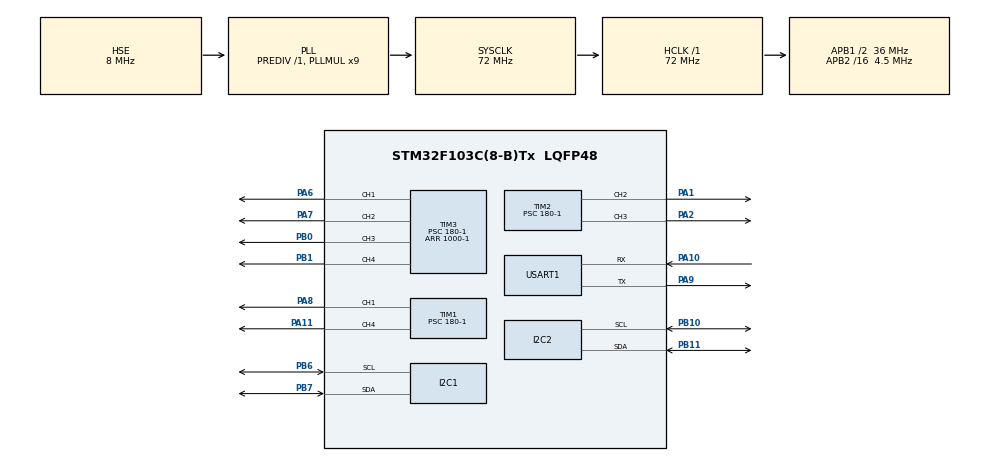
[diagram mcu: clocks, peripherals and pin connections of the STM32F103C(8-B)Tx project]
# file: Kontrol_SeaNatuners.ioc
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Dma.I2C1_RX.3.Direction=DMA_PERIPH_TO_MEMORY
Dma.I2C1_RX.3.Instance=DMA1_Channel7
Dma.I2C1_RX.3.MemDataAlignment=DMA_MDATAALIGN_BYTE
Dma.I2C1_RX.3.MemInc=DMA_MINC_ENABLE
Dma.I2C1_RX.3.Mode=DMA_NORMAL
Dma.I2C1_RX.3.PeriphDataAlignment=DMA_PDATAALIGN_BYTE
Dma.I2C1_RX.3.PeriphInc=DMA_PINC_DISABLE
Dma.I2C1_RX.3.Priority=DMA_PRIORITY_LOW
Dma.I2C1_TX.2.Direction=DMA_MEMORY_TO_PERIPH
Dma.I2C1_TX.2.Instance=DMA1_Channel6
Dma.I2C1_TX.2.MemDataAlignment=DMA_MDATAALIGN_BYTE
Dma.I2C1_TX.2.MemInc=DMA_MINC_ENABLE
Dma.I2C1_TX.2.Mode=DMA_NORMAL
Dma.I2C1_TX.2.PeriphDataAlignment=DMA_PDATAALIGN_BYTE
Dma.I2C1_TX.2.PeriphInc=DMA_PINC_DISABLE
Dma.I2C1_TX.2.Priority=DMA_PRIORITY_LOW
Dma.I2C2_RX.0.Direction=DMA_PERIPH_TO_MEMORY
Dma.I2C2_RX.0.Instance=DMA1_Channel5
Dma.I2C2_RX.0.MemDataAlignment=DMA_MDATAALIGN_BYTE
Dma.I2C2_RX.0.MemInc=DMA_MINC_ENABLE
Dma.I2C2_RX.0.Mode=DMA_NORMAL
Dma.I2C2_RX.0.PeriphDataAlignment=DMA_PDATAALIGN_BYTE
Dma.I2C2_RX.0.PeriphInc=DMA_PINC_DISABLE
Dma.I2C2_RX.0.Priority=DMA_PRIORITY_LOW
Dma.I2C2_TX.1.Direction=DMA_MEMORY_TO_PERIPH
Dma.I2C2_TX.1.Instance=DMA1_Channel4
Dma.I2C2_TX.1.MemDataAlignment=DMA_MDATAALIGN_BYTE
Dma.I2C2_TX.1.MemInc=DMA_MINC_ENABLE
Dma.I2C2_TX.1.Mode=DMA_NORMAL
Dma.I2C2_TX.1.PeriphDataAlignment=DMA_PDATAALIGN_BYTE
Dma.I2C2_TX.1.PeriphInc=DMA_PINC_DISABLE
Dma.I2C2_TX.1.Priority=DMA_PRIORITY_LOW
Dma.Request0=I2C2_RX
Dma.Request1=I2C2_TX
Dma.Request2=I2C1_TX
Dma.Request3=I2C1_RX
Mcu.Family=STM32F1
Mcu.Name=STM32F103C(8-B)Tx
Mcu.Package=LQFP48
NVIC.DMA1_Channel4_IRQn=true\:0\:0\:false\:false\:true\:false\:true
NVIC.DMA1_Channel5_IRQn=true\:0\:0\:false\:false\:true\:false\:true
NVIC.DMA1_Channel6_IRQn=true\:0\:0\:false\:false\:true\:false\:true
NVIC.DMA1_Channel7_IRQn=true\:0\:0\:false\:false\:true\:false\:true
NVIC.PriorityGroup=NVIC_PRIORITYGROUP_4
NVIC.USART1_IRQn=true\:0\:0\:false\:false\:true\:true\:true
PA1.Signal=S_TIM2_CH2
PA10.Mode=Asynchronous
PA10.Signal=USART1_RX
PA11.Signal=S_TIM1_CH4
PA13.Mode=Serial_Wire
PA13.Signal=SYS_JTMS-SWDIO
PA14.Mode=Serial_Wire
PA14.Signal=SYS_JTCK-SWCLK
PA2.Signal=S_TIM2_CH3
PA6.Signal=S_TIM3_CH1
PA7.Signal=S_TIM3_CH2
PA8.Signal=S_TIM1_CH1
PA9.Mode=Asynchronous
PA9.Signal=USART1_TX
PB0.Signal=S_TIM3_CH3
PB1.Signal=S_TIM3_CH4
PB10.Mode=I2C
PB10.Signal=I2C2_SCL
PB11.Mode=I2C
PB11.Signal=I2C2_SDA
PB6.Mode=I2C
PB6.Signal=I2C1_SCL
PB7.Mode=I2C
PB7.Signal=I2C1_SDA
PD0-OSC_IN.Mode=HSE-External-Oscillator
PD0-OSC_IN.Signal=RCC_OSC_IN
PD1-OSC_OUT.Mode=HSE-External-Oscillator
PD1-OSC_OUT.Signal=RCC_OSC_OUT
ProjectManager.HeapSize=0x200
ProjectManager.StackSize=0x400
ProjectManager.TargetToolchain=STM32CubeIDE
RCC.AHBFreq_Value=72000000
RCC.APB1CLKDivider=RCC_HCLK_DIV2
RCC.APB1Freq_Value=36000000
RCC.APB1TimFreq_Value=72000000
RCC.APB2CLKDivider=RCC_HCLK_DIV16
RCC.APB2Freq_Value=4500000
RCC.APB2TimFreq_Value=9000000
RCC.HCLKFreq_Value=72000000
RCC.PLLMUL=RCC_PLL_MUL9
RCC.PLLSourceVirtual=RCC_PLLSOURCE_HSE
RCC.SYSCLKFreq_VALUE=72000000
RCC.SYSCLKSource=RCC_SYSCLKSOURCE_PLLCLK
RCC.USBFreq_Value=72000000
SH.S_TIM1_CH1.0=TIM1_CH1,PWM Generation1 CH1
SH.S_TIM1_CH4.0=TIM1_CH4,PWM Generation4 CH4
SH.S_TIM2_CH2.0=TIM2_CH2,PWM Generation2 CH2
SH.S_TIM2_CH3.0=TIM2_CH3,PWM Generation3 CH3
SH.S_TIM3_CH1.0=TIM3_CH1,PWM Generation1 CH1
SH.S_TIM3_CH2.0=TIM3_CH2,PWM Generation2 CH2
SH.S_TIM3_CH3.0=TIM3_CH3,PWM Generation3 CH3
SH.S_TIM3_CH4.0=TIM3_CH4,PWM Generation4 CH4
TIM1.Channel-PWM\ Generation1\ CH1=TIM_CHANNEL_1
TIM1.Channel-PWM\ Generation4\ CH4=TIM_CHANNEL_4
TIM1.Period=1000-1
TIM1.Prescaler=180-1
TIM2.Channel-PWM\ Generation2\ CH2=TIM_CHANNEL_2
TIM2.Channel-PWM\ Generation3\ CH3=TIM_CHANNEL_3
TIM2.Period=1000-1
TIM2.Prescaler=180-1
TIM3.Channel-PWM\ Generation1\ CH1=TIM_CHANNEL_1
TIM3.Channel-PWM\ Generation2\ CH2=TIM_CHANNEL_2
TIM3.Channel-PWM\ Generation3\ CH3=TIM_CHANNEL_3
TIM3.Channel-PWM\ Generation4\ CH4=TIM_CHANNEL_4
TIM3.OCPolarity_1=TIM_OCPOLARITY_LOW
TIM3.Period=1000-1
TIM3.Prescaler=180-1
USART1.VirtualMode=VM_ASYNC
VP_TIM1_VS_ClockSourceINT.Mode=Internal
VP_TIM2_VS_ClockSourceINT.Mode=Internal
VP_TIM3_VS_ClockSourceINT.Mode=Internal
board=custom

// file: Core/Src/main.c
/* USER CODE BEGIN Header */
/**
  ******************************************************************************
  * @file           : main.c
  * @brief          : Main program body
  ******************************************************************************
  * @attention
  *
  * Copyright (c) 2024 STMicroelectronics.
  * All rights reserved.
  *
  * This software is licensed under terms that can be found in the LICENSE file
  * in the root directory of this software component.
  * If no LICENSE file comes with this software, it is provided AS-IS.
  *
  ******************************************************************************
  */
/* USER CODE END Header */
#include "main.h"

I2C_HandleTypeDef hi2c1;
I2C_HandleTypeDef hi2c2;
DMA_HandleTypeDef hdma_i2c1_tx;
DMA_HandleTypeDef hdma_i2c1_rx;
DMA_HandleTypeDef hdma_i2c2_rx;
DMA_HandleTypeDef hdma_i2c2_tx;

TIM_HandleTypeDef htim1;
TIM_HandleTypeDef htim2;
TIM_HandleTypeDef htim3;

UART_HandleTypeDef huart1;

/* USER CODE BEGIN PV */
int v,x,y,yaw,depth;
float temperature;
float pressure;
int  pwm_depth, pwm_depth_rusak, pwm_x, pwm_y, pwm_yaw, pwm_y_negative,pwm_x_negative;
uint32_t RxBuffer[32];
int RxData[4];
volatile uint32_t rxDataAvailable = 0;
/* USER CODE END PV */

void SystemClock_Config(void);
static void MX_GPIO_Init(void);
static void MX_DMA_Init(void);
static void MX_I2C1_Init(void);
static void MX_I2C2_Init(void);
static void MX_TIM2_Init(void);
static void MX_TIM3_Init(void);
static void MX_USART1_UART_Init(void);
static void MX_TIM1_Init(void);
/* USER CODE BEGIN PFP */
void ProcessJoystickData(char* data);

void SetThrusterPWM(TIM_HandleTypeDef* htim, uint32_t channel, uint16_t pulse);
/* USER CODE END PFP */

/* USER CODE BEGIN 0 */
long map (long u, long in_min, long in_max, long out_min, long out_max){
//	return (x - in_min) * (out_max - out_min + 1) / (in_max - in_min + 1) - out_min;
	return (0.1*u)+74;
}
long negative (long u, long in_min, long in_max, long out_min, long out_max){
//	return (x - in_min) * (out_max - out_min + 1) / (in_max - in_min + 1) - out_min;
	return (-1*(0.1*u)+74);
}
long rusak (long u, long in_min, long in_max, long out_min, long out_max){
//	return (u - in_min) * (out_max - out_min + 1) / (in_max - in_min + 1) - out_min;
	return (0.1*u)+49;
}
/* USER CODE END 0 */

int main(void)
{

  /* MCU Configuration--------------------------------------------------------*/

  /* Reset of all peripherals, Initializes the Flash interface and the Systick. */
  HAL_Init();

  /* Configure the system clock */
  SystemClock_Config();

  /* Initialize all configured peripherals */
  MX_GPIO_Init();
  MX_DMA_Init();
  MX_I2C1_Init();
  MX_I2C2_Init();
  MX_TIM2_Init();
  MX_TIM3_Init();
  MX_USART1_UART_Init();
  MX_TIM1_Init();
  /* USER CODE BEGIN 2 */
////	 TIM2->CCR2 = 30;
	 HAL_TIM_PWM_Start(&htim2, TIM_CHANNEL_2);
////	 TIM2->CCR3 = 30;
	 HAL_TIM_PWM_Start(&htim2, TIM_CHANNEL_3);
////	 TIM3->CCR1 = 30;
	 HAL_TIM_PWM_Start(&htim1, TIM_CHANNEL_1);
////	 TIM1->CCR1 = 30;
	 HAL_TIM_PWM_Start(&htim1, TIM_CHANNEL_4);
////	 TIM1->CCR4 = 30;
	 HAL_TIM_PWM_Start(&htim3, TIM_CHANNEL_2);
////	 TIM3->CCR3 = 30;
	 HAL_TIM_PWM_Start(&htim3, TIM_CHANNEL_3);
////	 TIM3->CCR4 = 30;
	 HAL_TIM_PWM_Start(&htim3, TIM_CHANNEL_4);

   // Mulai menerima data UART
	  HAL_UART_Receive_IT(&huart1, RxData, 32);
	  // kalibrasi 1
	  TIM2->CCR2=100;
	  HAL_Delay(2000);
	  TIM2->CCR2=74;
	  HAL_Delay(1500);
	  TIM2->CCR2=49;
	  HAL_Delay(1000);

	  // kalibrasi 2
	  TIM2->CCR3=100;
	  HAL_Delay(2000);
	  TIM2->CCR3=74;
	  HAL_Delay(1500);
	  TIM2->CCR3=49;
	  HAL_Delay(1000);

	  // kalibrasi 3
	  TIM1->CCR4=100;
	  HAL_Delay(2000);
	  TIM1->CCR4=74;
	  HAL_Delay(1500);
	  TIM1->CCR4=49;
	  HAL_Delay(1000);

	  // kalibrasi 4
	  TIM3->CCR2=100;
	  HAL_Delay(2000);
	  TIM3->CCR2=74;
	  HAL_Delay(1500);
	  TIM3->CCR2=49;
	  HAL_Delay(1000);

	  // kalibrasi 5
	  TIM3->CCR3=100;
	  HAL_Delay(2000);
	  TIM3->CCR3=74;
	  HAL_Delay(1500);
	  TIM3->CCR3=49;
	  HAL_Delay(1000);

	  // kalibrasi 6
	  TIM3->CCR4=100;
	  HAL_Delay(2000);
	  TIM3->CCR4=74;
	  HAL_Delay(1500);
	  TIM3->CCR4=49;
	  HAL_Delay(1000);

	  /* BNO055 setup */
//	  bno055_assignI2C(&hi2c1);
//	  bno055_setup();
//	  bno055_setOperationModeNDOF();
  /* MS5803 TEST */
//	  HAL_StatusTypeDef test = MS5803_reset(&hi2c2); //reset
//	  while(test == HAL_ERROR) {
//		  //if the test fails
//	  }
//
//	  for(int i = 1; i <= 6; i++) {
//		  MS5803_coeff(&hi2c2, &MS5803_coefficient[i-1], i); //get coefficients
//	  }

  /* USER CODE END 2 */

  /* Infinite loop */
  /* USER CODE BEGIN WHILE */
  while (1)
  {
    /* USER CODE BEGIN 3 */
		 x = RxData[0]; y = RxData[1]; yaw = RxData[2]; depth = RxData[3];
    /* USER CODE END WHILE */

    /* USER CODE BEGIN 3 */
		 x = RxData[0]; y = RxData[1]; yaw = RxData[2]; depth = RxData[3];
    /* USER CODE END WHILE */

    /* USER CODE BEGIN 3 */
		 x = RxData[0]; y = RxData[1]; yaw = RxData[2]; depth = RxData[3];
    /* USER CODE END WHILE */

    /* USER CODE BEGIN 3 */
		 x = RxData[0]; y = RxData[1]; yaw = RxData[2]; depth = RxData[3];
	    /* USER CODE END WHILE */
		  pwm_x = map (x, 0, 250, 0, 100);
		  pwm_y = map (y, 0, 250, 0, 100);
		  pwm_x_negative = negative (x, 0, 250, 0, 100);
		  pwm_y_negative = negative (y, 0, 250, 0, 100);
		  pwm_yaw = map (yaw, 0, 250, 0, 100);
		  pwm_depth = map (depth, 0, 250, 0, 100);
		  pwm_depth_rusak = rusak (depth, 0, 250, 0, 100);
	//	  TIM2->CCR2=70;
	//	  HAL_Delay(100);
	//	  TIM2->CCR3=70;
	//	  HAL_Delay(100);
	//	  TIM3->CCR1=70;
	//	  HAL_Delay(100);
	//	  TIM3->CCR2=70;
	//	  HAL_Delay(100);
	//	  TIM3->CCR3=70;
	//	  HAL_Delay(100);
	//	  TIM3->CCR4=70;
		  if (x > 0) {
			  TIM2->CCR2=pwm_depth;
			  TIM2->CCR3=pwm_depth;
			  TIM1->CCR4=pwm_x_negative;
			  TIM3->CCR2=pwm_x;
			  TIM3->CCR3=pwm_x;
			  TIM3->CCR4=pwm_x_negative;
		  }
		  else if (x<0) {
			  TIM2->CCR2=pwm_depth;
			  TIM2->CCR3=pwm_depth;
			  TIM1->CCR4=pwm_x_negative;
			  TIM3->CCR2=pwm_x;
			  TIM3->CCR3=pwm_x;
			  TIM3->CCR4=pwm_x_negative;
		  }
		  else {

			  TIM2->CCR2=pwm_depth;
			  TIM2->CCR3=pwm_depth;
			  TIM1->CCR4=pwm_y_negative;
			  TIM3->CCR2=pwm_y_negative;
			  TIM3->CCR3=pwm_y;
			  TIM3->CCR4=pwm_y;
		  }
  }
  /* USER CODE END 3 */
}

void SystemClock_Config(void)
{
  RCC_OscInitTypeDef RCC_OscInitStruct = {0};
  RCC_ClkInitTypeDef RCC_ClkInitStruct = {0};

  /** Initializes the RCC Oscillators according to the specified parameters
  * in the RCC_OscInitTypeDef structure.
  */
  RCC_OscInitStruct.OscillatorType = RCC_OSCILLATORTYPE_HSE;
  RCC_OscInitStruct.HSEState = RCC_HSE_ON;
  RCC_OscInitStruct.HSEPredivValue = RCC_HSE_PREDIV_DIV1;
  RCC_OscInitStruct.HSIState = RCC_HSI_ON;
  RCC_OscInitStruct.PLL.PLLState = RCC_PLL_ON;
  RCC_OscInitStruct.PLL.PLLSource = RCC_PLLSOURCE_HSE;
  RCC_OscInitStruct.PLL.PLLMUL = RCC_PLL_MUL9;
  if (HAL_RCC_OscConfig(&RCC_OscInitStruct) != HAL_OK)
  {
    Error_Handler();
  }
  /** Initializes the CPU, AHB and APB buses clocks
  */
  RCC_ClkInitStruct.ClockType = RCC_CLOCKTYPE_HCLK|RCC_CLOCKTYPE_SYSCLK
                              |RCC_CLOCKTYPE_PCLK1|RCC_CLOCKTYPE_PCLK2;
  RCC_ClkInitStruct.SYSCLKSource = RCC_SYSCLKSOURCE_PLLCLK;
  RCC_ClkInitStruct.AHBCLKDivider = RCC_SYSCLK_DIV1;
  RCC_ClkInitStruct.APB1CLKDivider = RCC_HCLK_DIV2;
  RCC_ClkInitStruct.APB2CLKDivider = RCC_HCLK_DIV16;

  if (HAL_RCC_ClockConfig(&RCC_ClkInitStruct, FLASH_LATENCY_2) != HAL_OK)
  {
    Error_Handler();
  }
}

static void MX_I2C1_Init(void)
{

  hi2c1.Instance = I2C1;
  hi2c1.Init.ClockSpeed = 100000;
  hi2c1.Init.DutyCycle = I2C_DUTYCYCLE_2;
  hi2c1.Init.OwnAddress1 = 0;
  hi2c1.Init.AddressingMode = I2C_ADDRESSINGMODE_7BIT;
  hi2c1.Init.DualAddressMode = I2C_DUALADDRESS_DISABLE;
  hi2c1.Init.OwnAddress2 = 0;
  hi2c1.Init.GeneralCallMode = I2C_GENERALCALL_DISABLE;
  hi2c1.Init.NoStretchMode = I2C_NOSTRETCH_DISABLE;
  if (HAL_I2C_Init(&hi2c1) != HAL_OK)
  {
    Error_Handler();
  }

}

static void MX_I2C2_Init(void)
{

  hi2c2.Instance = I2C2;
  hi2c2.Init.ClockSpeed = 100000;
  hi2c2.Init.DutyCycle = I2C_DUTYCYCLE_2;
  hi2c2.Init.OwnAddress1 = 0;
  hi2c2.Init.AddressingMode = I2C_ADDRESSINGMODE_7BIT;
  hi2c2.Init.DualAddressMode = I2C_DUALADDRESS_DISABLE;
  hi2c2.Init.OwnAddress2 = 0;
  hi2c2.Init.GeneralCallMode = I2C_GENERALCALL_DISABLE;
  hi2c2.Init.NoStretchMode = I2C_NOSTRETCH_DISABLE;
  if (HAL_I2C_Init(&hi2c2) != HAL_OK)
  {
    Error_Handler();
  }

}

static void MX_TIM1_Init(void)
{

  TIM_ClockConfigTypeDef sClockSourceConfig = {0};
  TIM_MasterConfigTypeDef sMasterConfig = {0};
  TIM_OC_InitTypeDef sConfigOC = {0};
  TIM_BreakDeadTimeConfigTypeDef sBreakDeadTimeConfig = {0};

  htim1.Instance = TIM1;
  htim1.Init.Prescaler = 180-1;
  htim1.Init.CounterMode = TIM_COUNTERMODE_UP;
  htim1.Init.Period = 1000-1;
  htim1.Init.ClockDivision = TIM_CLOCKDIVISION_DIV1;
  htim1.Init.RepetitionCounter = 0;
  htim1.Init.AutoReloadPreload = TIM_AUTORELOAD_PRELOAD_DISABLE;
  if (HAL_TIM_Base_Init(&htim1) != HAL_OK)
  {
    Error_Handler();
  }
  sClockSourceConfig.ClockSource = TIM_CLOCKSOURCE_INTERNAL;
  if (HAL_TIM_ConfigClockSource(&htim1, &sClockSourceConfig) != HAL_OK)
  {
    Error_Handler();
  }
  if (HAL_TIM_PWM_Init(&htim1) != HAL_OK)
  {
    Error_Handler();
  }
  sMasterConfig.MasterOutputTrigger = TIM_TRGO_RESET;
  sMasterConfig.MasterSlaveMode = TIM_MASTERSLAVEMODE_DISABLE;
  if (HAL_TIMEx_MasterConfigSynchronization(&htim1, &sMasterConfig) != HAL_OK)
  {
    Error_Handler();
  }
  sConfigOC.OCMode = TIM_OCMODE_PWM1;
  sConfigOC.Pulse = 0;
  sConfigOC.OCPolarity = TIM_OCPOLARITY_HIGH;
  sConfigOC.OCNPolarity = TIM_OCNPOLARITY_HIGH;
  sConfigOC.OCFastMode = TIM_OCFAST_DISABLE;
  sConfigOC.OCIdleState = TIM_OCIDLESTATE_RESET;
  sConfigOC.OCNIdleState = TIM_OCNIDLESTATE_RESET;
  if (HAL_TIM_PWM_ConfigChannel(&htim1, &sConfigOC, TIM_CHANNEL_1) != HAL_OK)
  {
    Error_Handler();
  }
  if (HAL_TIM_PWM_ConfigChannel(&htim1, &sConfigOC, TIM_CHANNEL_4) != HAL_OK)
  {
    Error_Handler();
  }
  sBreakDeadTimeConfig.OffStateRunMode = TIM_OSSR_DISABLE;
  sBreakDeadTimeConfig.OffStateIDLEMode = TIM_OSSI_DISABLE;
  sBreakDeadTimeConfig.LockLevel = TIM_LOCKLEVEL_OFF;
  sBreakDeadTimeConfig.DeadTime = 0;
  sBreakDeadTimeConfig.BreakState = TIM_BREAK_DISABLE;
  sBreakDeadTimeConfig.BreakPolarity = TIM_BREAKPOLARITY_HIGH;
  sBreakDeadTimeConfig.AutomaticOutput = TIM_AUTOMATICOUTPUT_DISABLE;
  if (HAL_TIMEx_ConfigBreakDeadTime(&htim1, &sBreakDeadTimeConfig) != HAL_OK)
  {
    Error_Handler();
  }
  HAL_TIM_MspPostInit(&htim1);

}

static void MX_TIM2_Init(void)
{

  TIM_ClockConfigTypeDef sClockSourceConfig = {0};
  TIM_MasterConfigTypeDef sMasterConfig = {0};
  TIM_OC_InitTypeDef sConfigOC = {0};

  htim2.Instance = TIM2;
  htim2.Init.Prescaler = 180-1;
  htim2.Init.CounterMode = TIM_COUNTERMODE_UP;
  htim2.Init.Period = 1000-1;
  htim2.Init.ClockDivision = TIM_CLOCKDIVISION_DIV1;
  htim2.Init.AutoReloadPreload = TIM_AUTORELOAD_PRELOAD_DISABLE;
  if (HAL_TIM_Base_Init(&htim2) != HAL_OK)
  {
    Error_Handler();
  }
  sClockSourceConfig.ClockSource = TIM_CLOCKSOURCE_INTERNAL;
  if (HAL_TIM_ConfigClockSource(&htim2, &sClockSourceConfig) != HAL_OK)
  {
    Error_Handler();
  }
  if (HAL_TIM_PWM_Init(&htim2) != HAL_OK)
  {
    Error_Handler();
  }
  sMasterConfig.MasterOutputTrigger = TIM_TRGO_RESET;
  sMasterConfig.MasterSlaveMode = TIM_MASTERSLAVEMODE_DISABLE;
  if (HAL_TIMEx_MasterConfigSynchronization(&htim2, &sMasterConfig) != HAL_OK)
  {
    Error_Handler();
  }
  sConfigOC.OCMode = TIM_OCMODE_PWM1;
  sConfigOC.Pulse = 0;
  sConfigOC.OCPolarity = TIM_OCPOLARITY_HIGH;
  sConfigOC.OCFastMode = TIM_OCFAST_DISABLE;
  if (HAL_TIM_PWM_ConfigChannel(&htim2, &sConfigOC, TIM_CHANNEL_2) != HAL_OK)
  {
    Error_Handler();
  }
  if (HAL_TIM_PWM_ConfigChannel(&htim2, &sConfigOC, TIM_CHANNEL_3) != HAL_OK)
  {
    Error_Handler();
  }
  HAL_TIM_MspPostInit(&htim2);

}

static void MX_TIM3_Init(void)
{

  TIM_ClockConfigTypeDef sClockSourceConfig = {0};
  TIM_MasterConfigTypeDef sMasterConfig = {0};
  TIM_OC_InitTypeDef sConfigOC = {0};

  htim3.Instance = TIM3;
  htim3.Init.Prescaler = 180-1;
  htim3.Init.CounterMode = TIM_COUNTERMODE_UP;
  htim3.Init.Period = 1000-1;
  htim3.Init.ClockDivision = TIM_CLOCKDIVISION_DIV1;
  htim3.Init.AutoReloadPreload = TIM_AUTORELOAD_PRELOAD_DISABLE;
  if (HAL_TIM_Base_Init(&htim3) != HAL_OK)
  {
    Error_Handler();
  }
  sClockSourceConfig.ClockSource = TIM_CLOCKSOURCE_INTERNAL;
  if (HAL_TIM_ConfigClockSource(&htim3, &sClockSourceConfig) != HAL_OK)
  {
    Error_Handler();
  }
  if (HAL_TIM_PWM_Init(&htim3) != HAL_OK)
  {
    Error_Handler();
  }
  sMasterConfig.MasterOutputTrigger = TIM_TRGO_RESET;
  sMasterConfig.MasterSlaveMode = TIM_MASTERSLAVEMODE_DISABLE;
  if (HAL_TIMEx_MasterConfigSynchronization(&htim3, &sMasterConfig) != HAL_OK)
  {
    Error_Handler();
  }
  sConfigOC.OCMode = TIM_OCMODE_PWM1;
  sConfigOC.Pulse = 0;
  sConfigOC.OCPolarity = TIM_OCPOLARITY_LOW;
  sConfigOC.OCFastMode = TIM_OCFAST_DISABLE;
  if (HAL_TIM_PWM_ConfigChannel(&htim3, &sConfigOC, TIM_CHANNEL_1) != HAL_OK)
  {
    Error_Handler();
  }
  sConfigOC.OCPolarity = TIM_OCPOLARITY_HIGH;
  if (HAL_TIM_PWM_ConfigChannel(&htim3, &sConfigOC, TIM_CHANNEL_2) != HAL_OK)
  {
    Error_Handler();
  }
  if (HAL_TIM_PWM_ConfigChannel(&htim3, &sConfigOC, TIM_CHANNEL_3) != HAL_OK)
  {
    Error_Handler();
  }
  if (HAL_TIM_PWM_ConfigChannel(&htim3, &sConfigOC, TIM_CHANNEL_4) != HAL_OK)
  {
    Error_Handler();
  }
  HAL_TIM_MspPostInit(&htim3);

}

static void MX_USART1_UART_Init(void)
{

  huart1.Instance = USART1;
  huart1.Init.BaudRate = 115200;
  huart1.Init.WordLength = UART_WORDLENGTH_8B;
  huart1.Init.StopBits = UART_STOPBITS_1;
  huart1.Init.Parity = UART_PARITY_NONE;
  huart1.Init.Mode = UART_MODE_TX_RX;
  huart1.Init.HwFlowCtl = UART_HWCONTROL_NONE;
  huart1.Init.OverSampling = UART_OVERSAMPLING_16;
  if (HAL_UART_Init(&huart1) != HAL_OK)
  {
    Error_Handler();
  }
  /* USER CODE BEGIN USART1_Init 2 */
  __HAL_UART_ENABLE_IT(&huart1, UART_IT_RXNE);
  /* USER CODE END USART1_Init 2 */

}

static void MX_DMA_Init(void)
{

  /* DMA controller clock enable */
  __HAL_RCC_DMA1_CLK_ENABLE();

  /* DMA interrupt init */
  /* DMA1_Channel4_IRQn interrupt configuration */
  HAL_NVIC_SetPriority(DMA1_Channel4_IRQn, 0, 0);
  HAL_NVIC_EnableIRQ(DMA1_Channel4_IRQn);
  /* DMA1_Channel5_IRQn interrupt configuration */
  HAL_NVIC_SetPriority(DMA1_Channel5_IRQn, 0, 0);
  HAL_NVIC_EnableIRQ(DMA1_Channel5_IRQn);
  /* DMA1_Channel6_IRQn interrupt configuration */
  HAL_NVIC_SetPriority(DMA1_Channel6_IRQn, 0, 0);
  HAL_NVIC_EnableIRQ(DMA1_Channel6_IRQn);
  /* DMA1_Channel7_IRQn interrupt configuration */
  HAL_NVIC_SetPriority(DMA1_Channel7_IRQn, 0, 0);
  HAL_NVIC_EnableIRQ(DMA1_Channel7_IRQn);

}

static void MX_GPIO_Init(void)
{

  /* GPIO Ports Clock Enable */
  __HAL_RCC_GPIOD_CLK_ENABLE();
  __HAL_RCC_GPIOA_CLK_ENABLE();
  __HAL_RCC_GPIOB_CLK_ENABLE();

}

/* USER CODE BEGIN 4 */
void HAL_UART_RxCpltCallback(UART_HandleTypeDef *huart)
{
    static uint8_t index = 0;

    if (huart->Instance == USART1) {
        if (RxData == '\n') {
            RxBuffer[index] = '\0';  // Akhiri string dengan null terminator
            index = 0;
            rxDataAvailable = 1;  // Set flag untuk menandakan data tersedia
        } else {
            RxBuffer[index++] = RxData;  // Simpan data ke buffer
            if (index >= sizeof(RxBuffer) - 1) {
                index = sizeof(RxBuffer) - 1;  // Cegah buffer overflow
            }
        }

        HAL_UART_Receive_IT(&huart1, &RxData, sizeof(RxData));  // Terima byte berikutnya
    }
}
//void ProcessJoystickData(char* data)
//{
//
////
////	scanf(RxData, "%i %i %i %i", &x, &y, &yaw, &depth);
////
//	printf("Received Data - X: %i, Y: %i, Yaw: %i, Depth: %i\r\n", x, y, yaw, depth);
//
//    // Validasi rentang nilai
//
//
//    if (depth>0)
//    	pwm_depth = 1000 + (depth * 1000 / 250);
//    else if (depth<0)
//        pwm_depth = 2000 + (depth * 1000 / 250);
//    else pwm_depth = 0;
//    if (y>0)
//    	pwm_y = 1000 + (y * 1000 / 250);
//    else if (y<0)
//        pwm_y = 2000 + (y * 1000 / 250);
//    else pwm_y = 0;
//    if (x < 0){
//    	pwm_x = 1000 + (x * 1000 / 2);
//        SetThrusterPWM(&htim3, TIM_CHANNEL_1, pwm_y);
//    	SetThrusterPWM(&htim3, TIM_CHANNEL_2, pwm_x);
//        SetThrusterPWM(&htim3, TIM_CHANNEL_3, pwm_y);
//		SetThrusterPWM(&htim3, TIM_CHANNEL_4, pwm_x);
//    }
//	else if(x > 0) {
//    	pwm_x = 1000 + (x * 1000 / 25);
//    	SetThrusterPWM(&htim3, TIM_CHANNEL_1, pwm_x);
//        SetThrusterPWM(&htim3, TIM_CHANNEL_2, pwm_y);
//		SetThrusterPWM(&htim3, TIM_CHANNEL_3, pwm_x);
//	    SetThrusterPWM(&htim3, TIM_CHANNEL_4, pwm_y);
//	}
//	else {
//		SetThrusterPWM(&htim3, TIM_CHANNEL_1, pwm_y);
//		SetThrusterPWM(&htim3, TIM_CHANNEL_2, pwm_y);
//		SetThrusterPWM(&htim3, TIM_CHANNEL_3, pwm_y);
//		SetThrusterPWM(&htim3, TIM_CHANNEL_4, pwm_y);
//	}
//
//	// Konversi nilai untuk PWM
//    SetThrusterPWM(&htim2, TIM_CHANNEL_2, pwm_depth);
//    SetThrusterPWM(&htim2, TIM_CHANNEL_3, pwm_depth);
//
//}
//

void setPWMDutyCycle(TIM_HandleTypeDef *htim, uint32_t channel, uint16_t dutyCycle) {
    __HAL_TIM_SET_COMPARE(htim, channel, dutyCycle);
}
void SetThrusterPWM(TIM_HandleTypeDef* htim, uint32_t channel, uint16_t pulse)
{
    TIM_OC_InitTypeDef sConfigOC = {0};
    sConfigOC.OCMode = TIM_OCMODE_PWM1;
    sConfigOC.Pulse = pulse;
    sConfigOC.OCPolarity = TIM_OCPOLARITY_HIGH;
    sConfigOC.OCFastMode = TIM_OCFAST_DISABLE;

    if (HAL_TIM_PWM_ConfigChannel(htim, &sConfigOC, channel) != HAL_OK)
    {
        Error_Handler();
    }
//    HAL_TIM_PWM_Start(htim, channel);

}
/* USER CODE END 4 */

void Error_Handler(void)
{
  __disable_irq();
  while (1)
  {
  }
}
